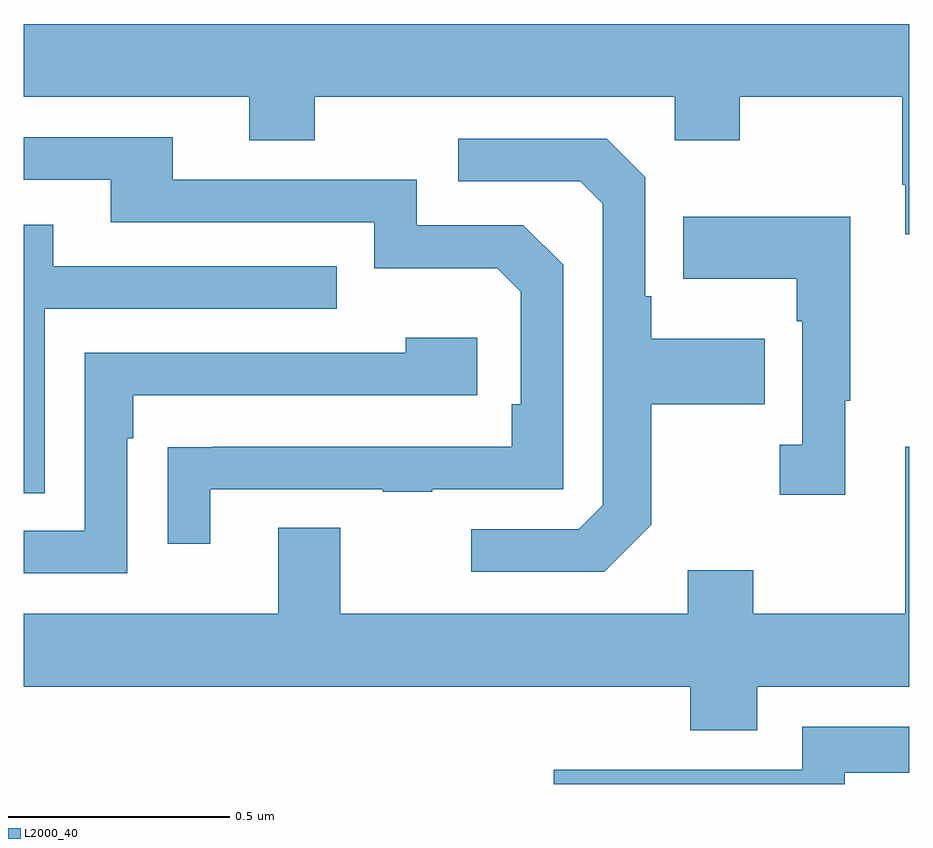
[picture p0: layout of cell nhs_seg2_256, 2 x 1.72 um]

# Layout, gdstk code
import gdstk
lib = gdstk.Library(unit=1e-6, precision=1e-09)
def P(c, l, *ps):  # polygons
    for p in ps: c.add(gdstk.Polygon(p, *l))
L2000_40 = (2000, 40)

nhs_seg2_256 = lib.new_cell('nhs_seg2_256')
P(nhs_seg2_256, L2000_40, [(116,598.516),(114,598.516),(114,598.352),(114.509,598.352),(114.509,598.253),(114.657,598.253),(114.657,598.352),(115.47,598.352),(115.47,598.253),(115.617,598.253),(115.617,598.352),(115.984,598.352),(115.984,598.153),(115.991,598.153),(115.991,598.041),(116,598.041)],
  [(114.421,597.465),(114.811,597.465),(114.811,597.46),(114.923,597.46),(114.923,597.465),(115.218,597.465),(115.218,597.972),(115.128,598.062),(114.888,598.062),(114.888,598.164),(114.337,598.164),(114.337,598.26),(114,598.26),(114,598.164),(114.197,598.164),(114.197,598.068),(114.792,598.068),(114.792,597.965),(115.069,597.965),(115.122,597.912),(115.122,597.658),(115.102,597.658),(115.102,597.561),(114.427,597.561),(114.427,597.56),(114.325,597.56),(114.325,597.342),(114.421,597.342)],
  [(115.417,597.385),(115.417,597.658),(115.673,597.658),(115.673,597.805),(115.417,597.805),(115.417,597.901),(115.404,597.901),(115.404,598.17),(115.317,598.257),(114.981,598.257),(114.981,598.161),(115.257,598.161),(115.308,598.11),(115.308,597.429),(115.254,597.375),(115.011,597.375),(115.011,597.279),(115.311,597.279)],
  [(115.855,597.665),(115.867,597.665),(115.867,598.081),(115.489,598.081),(115.489,597.941),(115.746,597.941),(115.746,597.845),(115.758,597.845),(115.758,597.566),(115.707,597.566),(115.707,597.453),(115.855,597.453)],
  [(114.048,597.873),(114.707,597.873),(114.707,597.969),(114.067,597.969),(114.067,598.063),(114,598.063),(114,597.457),(114.048,597.457)],
  [(114.234,597.581),(114.247,597.581),(114.247,597.678),(115.024,597.678),(115.024,597.808),(114.863,597.808),(114.863,597.774),(114.138,597.774),(114.138,597.372),(114,597.372),(114,597.276),(114.234,597.276)],
  [(115.657,597.02),(116,597.02),(116,597.562),(115.991,597.562),(115.991,597.184),(115.647,597.184),(115.647,597.283),(115.499,597.283),(115.499,597.184),(114.715,597.184),(114.715,597.379),(114.575,597.379),(114.575,597.184),(114,597.184),(114,597.02),(115.505,597.02),(115.505,596.921),(115.657,596.921)],
  [(115.854,596.825),(116,596.825),(116,596.929),(115.758,596.929),(115.758,596.832),(115.197,596.832),(115.197,596.8),(115.854,596.8)])

lib.write_gds('nhs_seg2_256.gds')
